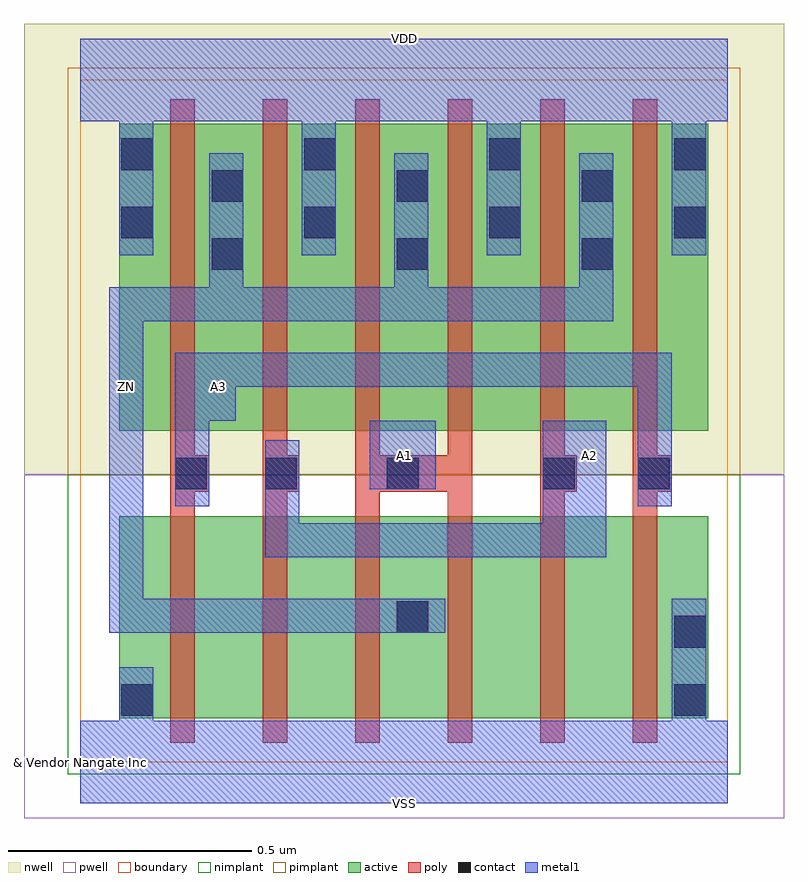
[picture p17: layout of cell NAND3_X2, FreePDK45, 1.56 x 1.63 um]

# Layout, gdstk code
import gdstk
lib = gdstk.Library(unit=1e-6, precision=1e-10)
def R(c, l, rs):  # rectangles x0, y0, x1, y1
    for r in rs: c.add(gdstk.rectangle(r[:2], r[2:], *l))
def A(c, l, x, y, w, h, nx, ny, dx, dy):  # array of equal rectangles
    R(c, l, [(x+i*dx, y+j*dy, x+i*dx+w, y+j*dy+h) for i in range(nx) for j in range(ny)])
def P(c, l, *ps):  # polygons
    for p in ps: c.add(gdstk.Polygon(p, *l))
active = (1, 0)
pwell = (2, 0)
nwell = (3, 0)
nimplant = (4, 0)
pimplant = (5, 0)
poly = (9, 0)
contact = (10, 0)
metal1 = (11, 0)
boundary = (235, 0)

nand3_x2 = lib.new_cell('NAND3_X2')
R(nand3_x2, active, [(0.08,0.09,1.29,0.505), (0.08,0.68,1.29,1.31)])
R(nand3_x2, pwell, [(-0.115,-0.115,1.445,0.59)])
R(nand3_x2, nwell, [(-0.115,0.59,1.445,1.515)])
R(nand3_x2, nimplant, [(-0.025,-0.025,1.355,0.59)])
R(nand3_x2, pimplant, [(-0.025,0.59,1.355,1.425)])
P(nand3_x2, poly, [(0.185,0.04),(0.185,1.36),(0.235,1.36),(0.235,0.63),(0.265,0.63),(0.265,0.555),(0.235,0.555),(0.235,0.04)],
  [(0.375,0.04),(0.375,1.36),(0.425,1.36),(0.425,0.63),(0.45,0.63),(0.45,0.555),(0.425,0.555),(0.425,0.04)],
  [(0.565,0.04),(0.565,1.36),(0.615,1.36),(0.615,0.63),(0.755,0.63),(0.755,1.36),(0.805,1.36),(0.805,0.04),(0.755,0.04),(0.755,0.555),(0.615,0.555),(0.615,0.04)],
  [(0.945,0.04),(0.945,1.36),(0.995,1.36),(0.995,0.63),(1.02,0.63),(1.02,0.555),(0.995,0.555),(0.995,0.04)],
  [(1.135,0.04),(1.135,1.36),(1.185,1.36),(1.185,0.63),(1.215,0.63),(1.215,0.555),(1.185,0.555),(1.185,0.04)])
A(nand3_x2, contact, 0.27, 1.01, 0.065, 0.065, 3, 2, 0.38, 0.14)
A(nand3_x2, contact, 0.46, 1.075, 0.065, 0.065, 3, 2, 0.38, 0.14)
R(nand3_x2, contact, [(0.085,0.095,0.15,0.16), (1.22,0.095,1.285,0.16), (1.22,0.235,1.285,0.3), (0.65,0.265,0.715,0.33), (0.195,0.56,0.26,0.625), (0.38,0.56,0.445,0.625), (0.63,0.56,0.695,0.625), (0.95,0.56,1.015,0.625), (1.145,0.56,1.21,0.625), (0.085,1.075,0.15,1.14), (0.085,1.215,0.15,1.28)])
R(nand3_x2, metal1, [(0.595,0.56,0.73,0.7)])
P(nand3_x2, metal1, [(0.38,0.42),(0.38,0.66),(0.45,0.66),(0.45,0.49),(0.95,0.49),(0.95,0.7),(1.08,0.7),(1.08,0.42)],
  [(0.06,0.265),(0.06,0.975),(0.265,0.975),(0.265,1.25),(0.335,1.25),(0.335,0.975),(0.645,0.975),(0.645,1.25),(0.715,1.25),(0.715,0.975),(1.025,0.975),(1.025,1.25),(1.095,1.25),(1.095,0.905),(0.13,0.905),(0.13,0.335),(0.75,0.335),(0.75,0.265)],
  [(0.195,0.525),(0.195,0.84),(1.215,0.84),(1.215,0.525),(1.145,0.525),(1.145,0.77),(0.32,0.77),(0.32,0.7),(0.265,0.7),(0.265,0.525)],
  [(0,-0.085),(0,0.085),(0.08,0.085),(0.08,0.195),(0.15,0.195),(0.15,0.085),(1.215,0.085),(1.215,0.335),(1.285,0.335),(1.285,0.085),(1.33,0.085),(1.33,-0.085)],
  [(0.08,1.04),(0.08,1.315),(0,1.315),(0,1.485),(1.33,1.485),(1.33,1.315),(1.285,1.315),(1.285,1.04),(1.215,1.04),(1.215,1.315),(0.905,1.315),(0.905,1.04),(0.835,1.04),(0.835,1.315),(0.525,1.315),(0.525,1.04),(0.455,1.04),(0.455,1.315),(0.15,1.315),(0.15,1.04)])
R(nand3_x2, boundary, [(0,0,1.33,1.4)])
nand3_x2.add(gdstk.Label('A1', (0.665,0.63), layer=11, texttype=0))
nand3_x2.add(gdstk.Label('A2', (1.045,0.63), layer=11, texttype=0))
nand3_x2.add(gdstk.Label('A3', (0.285,0.77), layer=11, texttype=0))
nand3_x2.add(gdstk.Label('VDD', (0.665,1.485), layer=11, texttype=0))
nand3_x2.add(gdstk.Label('VSS', (0.665,-0.085), layer=11, texttype=0))
nand3_x2.add(gdstk.Label('ZN', (0.095,0.77), layer=11, texttype=0))
nand3_x2.add(gdstk.Label('& Vendor Nangate Inc', (0,0), layer=63, texttype=63))
nand3_x2.add(gdstk.Label('& Product Open Cell Library', (0,0), layer=63, texttype=63))
nand3_x2.add(gdstk.Label('& Version 2010_12', (0,0), layer=63, texttype=63))
nand3_x2.add(gdstk.Label('& Instance NAND3_X2', (0,0), layer=63, texttype=63))

lib.write_gds('NAND3_X2.gds')
